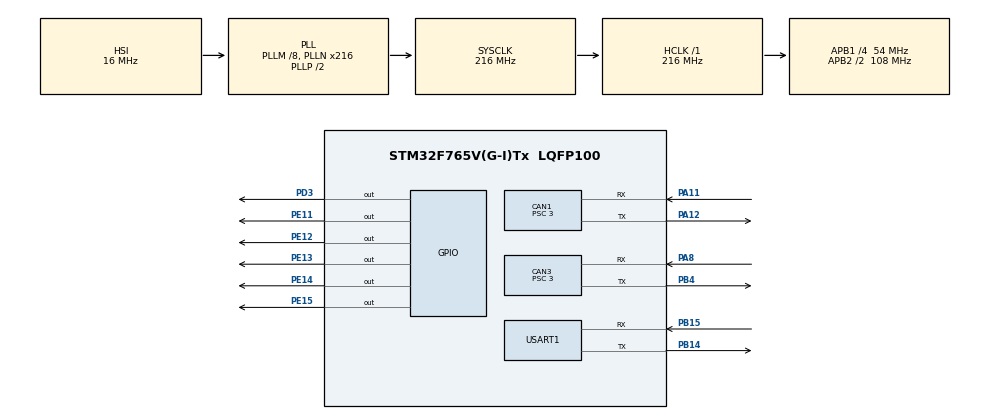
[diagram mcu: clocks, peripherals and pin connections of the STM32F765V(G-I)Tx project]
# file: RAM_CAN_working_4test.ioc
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CAN1.ABOM=DISABLE
CAN1.AWUM=ENABLE
CAN1.BS1=CAN_BS1_15TQ
CAN1.BS2=CAN_BS2_2TQ
CAN1.CalculateTimeQuantum=55.55555555555556
CAN1.Prescaler=3
CAN1.TTCM=DISABLE
CAN3.ABOM=ENABLE
CAN3.AWUM=ENABLE
CAN3.BS1=CAN_BS1_15TQ
CAN3.BS2=CAN_BS2_2TQ
CAN3.CalculateTimeQuantum=55.55555555555556
CAN3.Prescaler=3
CAN3.TTCM=ENABLE
Mcu.Family=STM32F7
Mcu.Name=STM32F765V(G-I)Tx
Mcu.Package=LQFP100
NVIC.CAN1_RX0_IRQn=true\:0\:0\:false\:true\:true\:2\:true\:true
NVIC.CAN1_RX1_IRQn=true\:0\:0\:false\:true\:true\:3\:true\:true
NVIC.CAN1_SCE_IRQn=true\:0\:0\:false\:true\:true\:4\:true\:true
NVIC.CAN1_TX_IRQn=true\:0\:0\:false\:true\:true\:1\:true\:true
NVIC.CAN3_RX0_IRQn=true\:0\:0\:false\:true\:true\:6\:true\:true
NVIC.CAN3_RX1_IRQn=true\:0\:0\:false\:true\:true\:7\:true\:true
NVIC.CAN3_SCE_IRQn=true\:0\:0\:false\:true\:true\:8\:true\:true
NVIC.CAN3_TX_IRQn=true\:0\:0\:false\:true\:true\:5\:true\:true
NVIC.PriorityGroup=NVIC_PRIORITYGROUP_4
PA11.GPIO_PuPd=GPIO_PULLUP
PA11.Mode=Master
PA11.Signal=CAN1_RX
PA12.GPIO_PuPd=GPIO_PULLUP
PA12.Mode=Master
PA12.Signal=CAN1_TX
PA8.GPIO_PuPd=GPIO_NOPULL
PA8.Mode=Master
PA8.Signal=CAN3_RX
PB14.Mode=Asynchronous
PB14.Signal=USART1_TX
PB15.Mode=Asynchronous
PB15.Signal=USART1_RX
PB4.GPIO_PuPd=GPIO_NOPULL
PB4.Mode=Master
PB4.Signal=CAN3_TX
PD3.Signal=GPIO_Output
PE11.Signal=GPIO_Output
PE12.Signal=GPIO_Output
PE13.Signal=GPIO_Output
PE14.Signal=GPIO_Output
PE15.Signal=GPIO_Output
ProjectManager.HeapSize=0x200
ProjectManager.StackSize=0x400
ProjectManager.TargetToolchain=STM32CubeIDE
RCC.AHBFreq_Value=216000000
RCC.APB1CLKDivider=RCC_HCLK_DIV4
RCC.APB1Freq_Value=54000000
RCC.APB1TimFreq_Value=108000000
RCC.APB2CLKDivider=RCC_HCLK_DIV2
RCC.APB2Freq_Value=108000000
RCC.APB2TimFreq_Value=216000000
RCC.CortexFreq_Value=216000000
RCC.HCLKFreq_Value=216000000
RCC.HSE_VALUE=25000000
RCC.HSI_VALUE=16000000
RCC.LSE_VALUE=32768
RCC.PLLM=8
RCC.PLLN=216
RCC.SYSCLKFreq_VALUE=216000000
RCC.SYSCLKSource=RCC_SYSCLKSOURCE_PLLCLK
RCC.USBFreq_Value=216000000
RCC.VCOOutputFreq_Value=432000000
USART1.VirtualMode-Asynchronous=VM_ASYNC
board=custom

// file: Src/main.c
/* USER CODE BEGIN Header */
/**
  ******************************************************************************
  * @file           : main.c
  * @brief          : Main program body
  ******************************************************************************
  * @attention
  *
  * <h2><center>&copy; Copyright (c) 2019 STMicroelectronics.
  * All rights reserved.</center></h2>
  *
  * This software component is licensed by ST under BSD 3-Clause license,
  * the "License"; You may not use this file except in compliance with the
  * License. You may obtain a copy of the License at:
  *                        opensource.org/licenses/BSD-3-Clause
  *
  ******************************************************************************
  */
  /*
   * Author: Luca Caronti
   * This code is done for test CAN on RAM modules.
   * Both CANs can be tested together.
   * CAN messages are printed from USART1 ---> USART1 TX pin is PB14 on socket
   *
   */
/* USER CODE END Header */

#include "main.h"

/* USER CODE BEGIN Includes */
#include "stdio.h"
#include "string.h"
/* USER CODE END Includes */

CAN_HandleTypeDef hcan1;
CAN_HandleTypeDef hcan3;

UART_HandleTypeDef huart1;

/* USER CODE BEGIN PV */
CAN_FilterTypeDef canFilter; //structure for CAN filter
can_stc can1,can3; //CAN structure
char huart_text[300]; //huart char arrays
/* USER CODE END PV */

void SystemClock_Config(void);
static void MX_GPIO_Init(void);
static void MX_USART1_UART_Init(void);
static void MX_CAN3_Init(void);
static void MX_CAN1_Init(void);
static void MX_NVIC_Init(void);
/* USER CODE BEGIN PFP */
void CAN_initialization(void);

/* USER CODE END PFP */

int main(void)
{

  /* MCU Configuration--------------------------------------------------------*/

  /* Reset of all peripherals, Initializes the Flash interface and the Systick. */
  HAL_Init();

  /* Configure the system clock */
  SystemClock_Config();

  /* Initialize all configured peripherals */
  MX_GPIO_Init();
  MX_USART1_UART_Init();
  MX_CAN3_Init();
  MX_CAN1_Init();

  /* Initialize interrupts */
  MX_NVIC_Init();
  /* USER CODE BEGIN 2 */
  CAN_initialization();
  HAL_Delay(5000);
  /* USER CODE END 2 */

  /* Infinite loop */
  /* USER CODE BEGIN WHILE */
  while (1)
  {
	  sprintf(huart_text,"can1: %d, %d, %d, %d, %d, %d, %d, %d, %d\r\n",can1.id, can1.dataTx[0], can1.dataTx[1], can1.dataTx[2], can1.dataTx[3], can1.dataTx[4],can1.dataTx[5], can1.dataTx[6], can1.dataTx[7]);
	  HAL_UART_Transmit(&huart1,(uint8_t*)huart_text, strlen(huart_text), 10);
	  HAL_Delay(50);
	  sprintf(huart_text,"can3: %d, %d, %d, %d, %d, %d, %d, %d, %d\r\n",can3.id, can3.dataTx[0], can3.dataTx[1], can3.dataTx[2], can3.dataTx[3], can3.dataTx[4],can3.dataTx[5], can3.dataTx[6], can3.dataTx[7]);
	  HAL_UART_Transmit(&huart1,(uint8_t*)huart_text, strlen(huart_text), 10);
	  HAL_Delay(50);
    /* USER CODE END WHILE */

  }
}

void SystemClock_Config(void)
{
  RCC_OscInitTypeDef RCC_OscInitStruct = {0};
  RCC_ClkInitTypeDef RCC_ClkInitStruct = {0};
  RCC_PeriphCLKInitTypeDef PeriphClkInitStruct = {0};

  /** Configure the main internal regulator output voltage
  */
  __HAL_RCC_PWR_CLK_ENABLE();
  __HAL_PWR_VOLTAGESCALING_CONFIG(PWR_REGULATOR_VOLTAGE_SCALE1);
  /** Initializes the CPU, AHB and APB busses clocks
  */
  RCC_OscInitStruct.OscillatorType = RCC_OSCILLATORTYPE_HSI;
  RCC_OscInitStruct.HSIState = RCC_HSI_ON;
  RCC_OscInitStruct.HSICalibrationValue = RCC_HSICALIBRATION_DEFAULT;
  RCC_OscInitStruct.PLL.PLLState = RCC_PLL_ON;
  RCC_OscInitStruct.PLL.PLLSource = RCC_PLLSOURCE_HSI;
  RCC_OscInitStruct.PLL.PLLM = 8;
  RCC_OscInitStruct.PLL.PLLN = 216;
  RCC_OscInitStruct.PLL.PLLP = RCC_PLLP_DIV2;
  RCC_OscInitStruct.PLL.PLLQ = 2;
  if (HAL_RCC_OscConfig(&RCC_OscInitStruct) != HAL_OK)
  {
    Error_Handler();
  }
  /** Activate the Over-Drive mode
  */
  if (HAL_PWREx_EnableOverDrive() != HAL_OK)
  {
    Error_Handler();
  }
  /** Initializes the CPU, AHB and APB busses clocks
  */
  RCC_ClkInitStruct.ClockType = RCC_CLOCKTYPE_HCLK|RCC_CLOCKTYPE_SYSCLK
                              |RCC_CLOCKTYPE_PCLK1|RCC_CLOCKTYPE_PCLK2;
  RCC_ClkInitStruct.SYSCLKSource = RCC_SYSCLKSOURCE_PLLCLK;
  RCC_ClkInitStruct.AHBCLKDivider = RCC_SYSCLK_DIV1;
  RCC_ClkInitStruct.APB1CLKDivider = RCC_HCLK_DIV4;
  RCC_ClkInitStruct.APB2CLKDivider = RCC_HCLK_DIV2;

  if (HAL_RCC_ClockConfig(&RCC_ClkInitStruct, FLASH_LATENCY_7) != HAL_OK)
  {
    Error_Handler();
  }
  PeriphClkInitStruct.PeriphClockSelection = RCC_PERIPHCLK_USART1;
  PeriphClkInitStruct.Usart1ClockSelection = RCC_USART1CLKSOURCE_PCLK2;
  if (HAL_RCCEx_PeriphCLKConfig(&PeriphClkInitStruct) != HAL_OK)
  {
    Error_Handler();
  }
}

/**
  * @brief NVIC Configuration.
  * @retval None
  */
static void MX_NVIC_Init(void)
{
  /* CAN1_TX_IRQn interrupt configuration */
  HAL_NVIC_SetPriority(CAN1_TX_IRQn, 0, 0);
  HAL_NVIC_EnableIRQ(CAN1_TX_IRQn);
  /* CAN1_RX0_IRQn interrupt configuration */
  HAL_NVIC_SetPriority(CAN1_RX0_IRQn, 0, 0);
  HAL_NVIC_EnableIRQ(CAN1_RX0_IRQn);
  /* CAN1_RX1_IRQn interrupt configuration */
  HAL_NVIC_SetPriority(CAN1_RX1_IRQn, 0, 0);
  HAL_NVIC_EnableIRQ(CAN1_RX1_IRQn);
  /* CAN1_SCE_IRQn interrupt configuration */
  HAL_NVIC_SetPriority(CAN1_SCE_IRQn, 0, 0);
  HAL_NVIC_EnableIRQ(CAN1_SCE_IRQn);
  /* CAN3_TX_IRQn interrupt configuration */
  HAL_NVIC_SetPriority(CAN3_TX_IRQn, 0, 0);
  HAL_NVIC_EnableIRQ(CAN3_TX_IRQn);
  /* CAN3_RX0_IRQn interrupt configuration */
  HAL_NVIC_SetPriority(CAN3_RX0_IRQn, 0, 0);
  HAL_NVIC_EnableIRQ(CAN3_RX0_IRQn);
  /* CAN3_RX1_IRQn interrupt configuration */
  HAL_NVIC_SetPriority(CAN3_RX1_IRQn, 0, 0);
  HAL_NVIC_EnableIRQ(CAN3_RX1_IRQn);
  /* CAN3_SCE_IRQn interrupt configuration */
  HAL_NVIC_SetPriority(CAN3_SCE_IRQn, 0, 0);
  HAL_NVIC_EnableIRQ(CAN3_SCE_IRQn);
}

static void MX_CAN1_Init(void)
{

  hcan1.Instance = CAN1;
  hcan1.Init.Prescaler = 3;
  hcan1.Init.Mode = CAN_MODE_NORMAL;
  hcan1.Init.SyncJumpWidth = CAN_SJW_1TQ;
  hcan1.Init.TimeSeg1 = CAN_BS1_15TQ;
  hcan1.Init.TimeSeg2 = CAN_BS2_2TQ;
  hcan1.Init.TimeTriggeredMode = DISABLE;
  hcan1.Init.AutoBusOff = DISABLE;
  hcan1.Init.AutoWakeUp = ENABLE;
  hcan1.Init.AutoRetransmission = DISABLE;
  hcan1.Init.ReceiveFifoLocked = DISABLE;
  hcan1.Init.TransmitFifoPriority = DISABLE;
  if (HAL_CAN_Init(&hcan1) != HAL_OK)
  {
    Error_Handler();
  }

}

static void MX_CAN3_Init(void)
{

  hcan3.Instance = CAN3;
  hcan3.Init.Prescaler = 3;
  hcan3.Init.Mode = CAN_MODE_NORMAL;
  hcan3.Init.SyncJumpWidth = CAN_SJW_1TQ;
  hcan3.Init.TimeSeg1 = CAN_BS1_15TQ;
  hcan3.Init.TimeSeg2 = CAN_BS2_2TQ;
  hcan3.Init.TimeTriggeredMode = ENABLE;
  hcan3.Init.AutoBusOff = ENABLE;
  hcan3.Init.AutoWakeUp = ENABLE;
  hcan3.Init.AutoRetransmission = DISABLE;
  hcan3.Init.ReceiveFifoLocked = DISABLE;
  hcan3.Init.TransmitFifoPriority = DISABLE;
  if (HAL_CAN_Init(&hcan3) != HAL_OK)
  {
    Error_Handler();
  }

}

static void MX_USART1_UART_Init(void)
{

  huart1.Instance = USART1;
  huart1.Init.BaudRate = 115200;
  huart1.Init.WordLength = UART_WORDLENGTH_8B;
  huart1.Init.StopBits = UART_STOPBITS_1;
  huart1.Init.Parity = UART_PARITY_NONE;
  huart1.Init.Mode = UART_MODE_TX_RX;
  huart1.Init.HwFlowCtl = UART_HWCONTROL_NONE;
  huart1.Init.OverSampling = UART_OVERSAMPLING_16;
  huart1.Init.OneBitSampling = UART_ONE_BIT_SAMPLE_DISABLE;
  huart1.AdvancedInit.AdvFeatureInit = UART_ADVFEATURE_NO_INIT;
  if (HAL_UART_Init(&huart1) != HAL_OK)
  {
    Error_Handler();
  }

}

static void MX_GPIO_Init(void)
{
  GPIO_InitTypeDef GPIO_InitStruct = {0};

  /* GPIO Ports Clock Enable */
  __HAL_RCC_GPIOE_CLK_ENABLE();
  __HAL_RCC_GPIOB_CLK_ENABLE();
  __HAL_RCC_GPIOA_CLK_ENABLE();
  __HAL_RCC_GPIOD_CLK_ENABLE();

  /*Configure GPIO pin Output Level */
  HAL_GPIO_WritePin(GPIOE, GPIO_PIN_11|GPIO_PIN_12|GPIO_PIN_13|GPIO_PIN_14
                          |GPIO_PIN_15, GPIO_PIN_RESET);

  /*Configure GPIO pin Output Level */
  HAL_GPIO_WritePin(GPIOD, GPIO_PIN_3, GPIO_PIN_RESET);

  /*Configure GPIO pins : PE11 PE12 PE13 PE14
                           PE15 */
  GPIO_InitStruct.Pin = GPIO_PIN_11|GPIO_PIN_12|GPIO_PIN_13|GPIO_PIN_14
                          |GPIO_PIN_15;
  GPIO_InitStruct.Mode = GPIO_MODE_OUTPUT_PP;
  GPIO_InitStruct.Pull = GPIO_NOPULL;
  GPIO_InitStruct.Speed = GPIO_SPEED_FREQ_LOW;
  HAL_GPIO_Init(GPIOE, &GPIO_InitStruct);

  /*Configure GPIO pin : PD3 */
  GPIO_InitStruct.Pin = GPIO_PIN_3;
  GPIO_InitStruct.Mode = GPIO_MODE_OUTPUT_PP;
  GPIO_InitStruct.Pull = GPIO_NOPULL;
  GPIO_InitStruct.Speed = GPIO_SPEED_FREQ_LOW;
  HAL_GPIO_Init(GPIOD, &GPIO_InitStruct);

}

/* USER CODE BEGIN 4 */
void HAL_CAN_RxFifo0FullCallback(CAN_HandleTypeDef *hcan){
	CAN_RxHeaderTypeDef RxHeader;
	if(hcan == &hcan1){
		if (HAL_CAN_GetRxFifoFillLevel(&hcan1, CAN_RX_FIFO0) != 0){
			HAL_CAN_GetRxMessage(&hcan1, CAN_RX_FIFO0, &RxHeader, can1.dataTx);
			can1.id = RxHeader.StdId;
		}
	}else{
		if (HAL_CAN_GetRxFifoFillLevel(&hcan3, CAN_RX_FIFO0) != 0){
			HAL_CAN_GetRxMessage(&hcan3, CAN_RX_FIFO0, &RxHeader, can3.dataTx);
			can3.id = RxHeader.StdId;
		}
	}
}
void CAN_initialization(void){
	//CAN filter initialization
	canFilter.FilterMode = CAN_FILTERMODE_IDMASK;
	canFilter.FilterIdLow = 0;
	canFilter.FilterIdHigh = 0;
	canFilter.FilterMaskIdHigh = 0;
	canFilter.FilterMaskIdLow = 0;
	canFilter.FilterFIFOAssignment = CAN_FILTER_FIFO0;
	canFilter.FilterBank = 0;
	canFilter.FilterScale  = CAN_FILTERSCALE_16BIT;
	canFilter.FilterActivation = ENABLE;

	//CAN filter configuration
	can1.configFilter_status = HAL_CAN_ConfigFilter(&hcan1, &canFilter);
	can3.configFilter_status = HAL_CAN_ConfigFilter(&hcan3, &canFilter);

	//CAN interrupt activation
	can1.activateNotif_status = HAL_CAN_ActivateNotification(&hcan1, CAN1_RX0_IRQn);
	can3.activateNotif_status = HAL_CAN_ActivateNotification(&hcan3, CAN3_RX0_IRQn);

	//CAN start
	can1.canStart_status = HAL_CAN_Start(&hcan1);
	can3.canStart_status = HAL_CAN_Start(&hcan3);

	//Initialization report
	sprintf(huart_text,
			"Next example explain the type of status:\r\n"
			"\t HAL_OK       = 0x00U\r\n"
			"\t HAL_ERROR    = 0x01U\r\n"
			"\t HAL_BUSY     = 0x02U\r\n"
			"\t HAL_TIMEOUT  = 0x03U\r\n\r\n");
	HAL_UART_Transmit(&huart1,(uint8_t*)huart_text, strlen(huart_text), 10);
	sprintf(huart_text,
			"CAN1:"
			"\t CAN filter configuration status    = %d\r\n"
			"\t CAN activation notification status = %d\r\n"
			"\t CAN start status                   = %d\r\n"
			,can1.configFilter_status, can1.activateNotif_status, can1.canStart_status);
	HAL_UART_Transmit(&huart1,(uint8_t*)huart_text, strlen(huart_text), 10);
	sprintf(huart_text,
			"CAN3:"
			"\t CAN filter configuration status    = %d\r\n"
			"\t CAN activation notification status = %d\r\n"
			"\t CAN start status                   = %d\r\n"
			,can3.configFilter_status, can3.activateNotif_status, can3.canStart_status);
	HAL_UART_Transmit(&huart1,(uint8_t*)huart_text, strlen(huart_text), 10);
}
/* USER CODE END 4 */

void Error_Handler(void)
{
}

/************************ (C) COPYRIGHT STMicroelectronics *****END OF FILE****/
